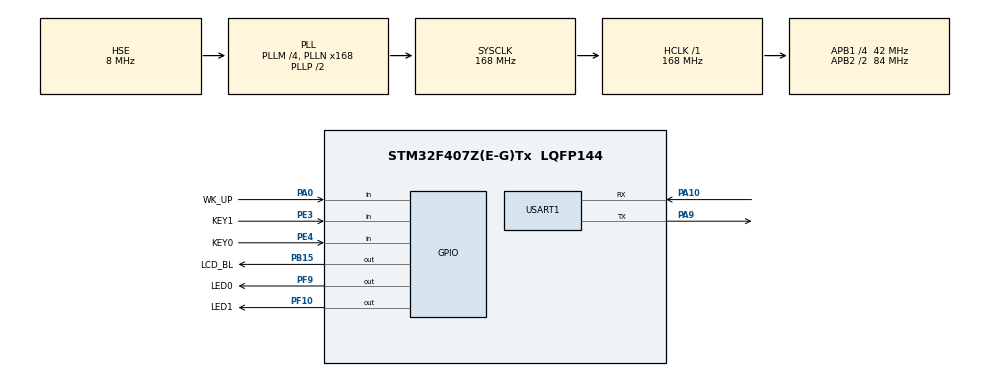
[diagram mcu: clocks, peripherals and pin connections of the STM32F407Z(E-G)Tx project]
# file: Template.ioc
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Mcu.Family=STM32F4
Mcu.Name=STM32F407Z(E-G)Tx
Mcu.Package=LQFP144
NVIC.PriorityGroup=NVIC_PRIORITYGROUP_4
NVIC.USART1_IRQn=true\:1\:0\:true\:false\:true\:true\:false\:true
PA0-WKUP.GPIO_Label=WK_UP
PA0-WKUP.GPIO_PuPd=GPIO_PULLDOWN
PA0-WKUP.Signal=GPIO_Input
PA10.Mode=Asynchronous
PA10.Signal=USART1_RX
PA13.Mode=Serial_Wire
PA13.Signal=SYS_JTMS-SWDIO
PA14.Mode=Serial_Wire
PA14.Signal=SYS_JTCK-SWCLK
PA9.Mode=Asynchronous
PA9.Signal=USART1_TX
PB15.GPIO_Label=LCD_BL
PB15.Signal=GPIO_Output
PE3.GPIO_Label=KEY1
PE3.GPIO_PuPd=GPIO_PULLUP
PE3.Signal=GPIO_Input
PE4.GPIO_Label=KEY0
PE4.GPIO_PuPd=GPIO_PULLUP
PE4.Signal=GPIO_Input
PF10.GPIO_Label=LED1
PF10.GPIO_PuPd=GPIO_NOPULL
PF10.PinState=GPIO_PIN_SET
PF10.Signal=GPIO_Output
PF9.GPIO_Label=LED0
PF9.GPIO_PuPd=GPIO_NOPULL
PF9.PinState=GPIO_PIN_SET
PF9.Signal=GPIO_Output
PH0-OSC_IN.Mode=HSE-External-Oscillator
PH0-OSC_IN.Signal=RCC_OSC_IN
PH1-OSC_OUT.Mode=HSE-External-Oscillator
PH1-OSC_OUT.Signal=RCC_OSC_OUT
ProjectManager.HeapSize=0x200
ProjectManager.StackSize=0x400
ProjectManager.TargetToolchain=MDK-ARM V5.32
RCC.48MHZClocksFreq_Value=84000000
RCC.AHBFreq_Value=168000000
RCC.APB1CLKDivider=RCC_HCLK_DIV4
RCC.APB1Freq_Value=42000000
RCC.APB1TimFreq_Value=84000000
RCC.APB2CLKDivider=RCC_HCLK_DIV2
RCC.APB2Freq_Value=84000000
RCC.APB2TimFreq_Value=168000000
RCC.CortexFreq_Value=168000000
RCC.HCLKFreq_Value=168000000
RCC.HSE_VALUE=8000000
RCC.HSI_VALUE=16000000
RCC.LSE_VALUE=32768
RCC.PLLM=4
RCC.PLLN=168
RCC.PLLSourceVirtual=RCC_PLLSOURCE_HSE
RCC.SYSCLKFreq_VALUE=168000000
RCC.SYSCLKSource=RCC_SYSCLKSOURCE_PLLCLK
RCC.VCOOutputFreq_Value=336000000
USART1.VirtualMode=VM_ASYNC
board=custom

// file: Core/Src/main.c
/* USER CODE BEGIN Header */
/**
  ******************************************************************************
  * @file           : main.c
  * @brief          : Main program body
  ******************************************************************************
  * @attention
  *
  * Copyright (c) 2025 STMicroelectronics.
  * All rights reserved.
  *
  * This software is licensed under terms that can be found in the LICENSE file
  * in the root directory of this software component.
  * If no LICENSE file comes with this software, it is provided AS-IS.
  *
  ******************************************************************************
  */
/* USER CODE END Header */
#include "main.h"

/* USER CODE BEGIN Includes */
#include "bsp_key.h"
#include "bsp_uart.h"
#include "iap.h"
/* USER CODE END Includes */

UART_HandleTypeDef huart1;

void SystemClock_Config(void);
static void MX_GPIO_Init(void);
static void MX_USART1_UART_Init(void);

int main(void)
{

  /* USER CODE BEGIN 1 */
	u8 t=5;
	uint8_t key=0;
	uint16_t oldcount=0;				    //老的串口接收数据值
	uint32_t applenth=0;				    //接收到的app代码长度
  /* USER CODE END 1 */

  /* MCU Configuration--------------------------------------------------------*/

  /* Reset of all peripherals, Initializes the Flash interface and the Systick. */
  HAL_Init();

  /* Configure the system clock */
  SystemClock_Config();

  /* Initialize all configured peripherals */
  MX_GPIO_Init();
  MX_USART1_UART_Init();
  /* USER CODE BEGIN 2 */
	bsp_systick_init(168);
	bsp_uart1_init();

	printf("Explorer STM32F4          \r\n");
	printf("BOOT MODE                 \r\n");
	printf("长按KEY_UP:更新固件       \r\n");
	printf("若无操作五秒后进入默认固件\r\n");
	while(1)
	{
		key=Key_Scan(0);
		if(key == WKUP_PRES)
		{
			key=0;t=0;LED0(1);
			printf("\r\n==========================\r\n");
			printf("      进入固件更新模式          ");
			printf("\r\n==========================\r\n");
			printf("\r\n");
			printf("Explorer STM32F4     \r\n");
		  printf("BOOT MODE            \r\n");
			printf("KEY_UP:Copy APP2FLASH\r\n");
			printf("KEY0:Run FLASH APP   \r\n");
			printf("KEY1:Erase SRAM APP  \r\n");
			printf("1.上位机发送固件.bin文件\r\n");
			printf("2.按下KEY_UP将sram内的固件加载至flash中\r\n");
			printf("3.按下KEY_0运行flash内更新后的固件\r\n");
			printf("正在等待用户程序\r\n");
			break;
		}
		printf("%d\r\n",t);
		t--;
		LED0(2);
		delay_ms(1000);
		if(t==0)
		{
			printf("开始执行FLASH用户代码!!\r\n");
			if(((*(vu32*)(FLASH_APP1_ADDR+4))&0xFF000000)==0x08000000)//判断是否为0X08XXXXXX.
			{
				iap_load_app(FLASH_APP1_ADDR);//执行FLASH APP代码
			}else
			{
				printf("非FLASH应用程序,无法执行!\r\n");
			}
		}
	}
  /* USER CODE END 2 */

  /* Infinite loop */
  /* USER CODE BEGIN WHILE */
  while (1)
  {
		if(USART_RX_CNT){
			if(oldcount==USART_RX_CNT)//新周期内,没有收到任何数据,认为本次数据接收完成.
			{
				applenth=USART_RX_CNT;
				oldcount=0;
				USART_RX_CNT=0;
				printf("用户程序接收完成!\r\n");
				printf("代码长度:%dBytes\r\n",applenth);
			}else oldcount=USART_RX_CNT;
		}
		delay_ms(10);
		key=Key_Scan(0);
		if(key==WKUP_PRES)	//WK_UP按键按下
		{
			if(applenth)
			{
				printf("开始更新固件...\r\n");
				if(((*(vu32*)(0X20001000+4))&0xFF000000)==0x08000000)//判断串口接受缓存区是否为0X08XXXXXX.
				{
					iap_write_appbin(FLASH_APP1_ADDR,USART_RX_BUF,applenth);//更新FLASH代码，将串口缓存处的代码复制到FLASH处
					printf("固件更新完成!\r\n");
				}else
				{

					printf("非FLASH应用程序!\r\n");
				}
			}else
			{
				printf("没有可以更新的固件!\r\n");
			}
		}
		if(key==KEY0_PRES)	//KEY1按下
		{
			if(applenth)
			{
				printf("固件清除完成!\r\n");
				applenth=0;
			}else
			{
				printf("没有可以清除的固件!\r\n");
			}
		}
		if(key==KEY1_PRES)	//KEY2按下
		{
			printf("开始执行FLASH用户代码!!\r\n");
			if(((*(vu32*)(FLASH_APP1_ADDR+4))&0xFF000000)==0x08000000)//判断是否为0X08XXXXXX.
			{
				iap_load_app(FLASH_APP1_ADDR);//执行FLASH APP代码
			}else
			{
				printf("非FLASH应用程序,无法执行!\r\n");

			}
		}
    /* USER CODE END WHILE */

  }
}

void SystemClock_Config(void)
{
  RCC_OscInitTypeDef RCC_OscInitStruct = {0};
  RCC_ClkInitTypeDef RCC_ClkInitStruct = {0};

  /** Configure the main internal regulator output voltage
  */
  __HAL_RCC_PWR_CLK_ENABLE();
  __HAL_PWR_VOLTAGESCALING_CONFIG(PWR_REGULATOR_VOLTAGE_SCALE1);

  /** Initializes the RCC Oscillators according to the specified parameters
  * in the RCC_OscInitTypeDef structure.
  */
  RCC_OscInitStruct.OscillatorType = RCC_OSCILLATORTYPE_HSE;
  RCC_OscInitStruct.HSEState = RCC_HSE_ON;
  RCC_OscInitStruct.PLL.PLLState = RCC_PLL_ON;
  RCC_OscInitStruct.PLL.PLLSource = RCC_PLLSOURCE_HSE;
  RCC_OscInitStruct.PLL.PLLM = 4;
  RCC_OscInitStruct.PLL.PLLN = 168;
  RCC_OscInitStruct.PLL.PLLP = RCC_PLLP_DIV2;
  RCC_OscInitStruct.PLL.PLLQ = 4;
  if (HAL_RCC_OscConfig(&RCC_OscInitStruct) != HAL_OK)
  {
    Error_Handler();
  }

  /** Initializes the CPU, AHB and APB buses clocks
  */
  RCC_ClkInitStruct.ClockType = RCC_CLOCKTYPE_HCLK|RCC_CLOCKTYPE_SYSCLK
                              |RCC_CLOCKTYPE_PCLK1|RCC_CLOCKTYPE_PCLK2;
  RCC_ClkInitStruct.SYSCLKSource = RCC_SYSCLKSOURCE_PLLCLK;
  RCC_ClkInitStruct.AHBCLKDivider = RCC_SYSCLK_DIV1;
  RCC_ClkInitStruct.APB1CLKDivider = RCC_HCLK_DIV4;
  RCC_ClkInitStruct.APB2CLKDivider = RCC_HCLK_DIV2;

  if (HAL_RCC_ClockConfig(&RCC_ClkInitStruct, FLASH_LATENCY_5) != HAL_OK)
  {
    Error_Handler();
  }
}

static void MX_USART1_UART_Init(void)
{

  huart1.Instance = USART1;
  huart1.Init.BaudRate = 115200;
  huart1.Init.WordLength = UART_WORDLENGTH_8B;
  huart1.Init.StopBits = UART_STOPBITS_1;
  huart1.Init.Parity = UART_PARITY_NONE;
  huart1.Init.Mode = UART_MODE_TX_RX;
  huart1.Init.HwFlowCtl = UART_HWCONTROL_NONE;
  huart1.Init.OverSampling = UART_OVERSAMPLING_16;
  if (HAL_UART_Init(&huart1) != HAL_OK)
  {
    Error_Handler();
  }

}

static void MX_GPIO_Init(void)
{
  GPIO_InitTypeDef GPIO_InitStruct = {0};

  /* GPIO Ports Clock Enable */
  __HAL_RCC_GPIOE_CLK_ENABLE();
  __HAL_RCC_GPIOF_CLK_ENABLE();
  __HAL_RCC_GPIOH_CLK_ENABLE();
  __HAL_RCC_GPIOA_CLK_ENABLE();
  __HAL_RCC_GPIOB_CLK_ENABLE();

  /*Configure GPIO pin Output Level */
  HAL_GPIO_WritePin(GPIOF, LED0_Pin|LED1_Pin, GPIO_PIN_SET);

  /*Configure GPIO pin Output Level */
  HAL_GPIO_WritePin(LCD_BL_GPIO_Port, LCD_BL_Pin, GPIO_PIN_RESET);

  /*Configure GPIO pins : KEY1_Pin KEY0_Pin */
  GPIO_InitStruct.Pin = KEY1_Pin|KEY0_Pin;
  GPIO_InitStruct.Mode = GPIO_MODE_INPUT;
  GPIO_InitStruct.Pull = GPIO_PULLUP;
  HAL_GPIO_Init(GPIOE, &GPIO_InitStruct);

  /*Configure GPIO pins : LED0_Pin LED1_Pin */
  GPIO_InitStruct.Pin = LED0_Pin|LED1_Pin;
  GPIO_InitStruct.Mode = GPIO_MODE_OUTPUT_PP;
  GPIO_InitStruct.Pull = GPIO_NOPULL;
  GPIO_InitStruct.Speed = GPIO_SPEED_FREQ_LOW;
  HAL_GPIO_Init(GPIOF, &GPIO_InitStruct);

  /*Configure GPIO pin : WK_UP_Pin */
  GPIO_InitStruct.Pin = WK_UP_Pin;
  GPIO_InitStruct.Mode = GPIO_MODE_INPUT;
  GPIO_InitStruct.Pull = GPIO_PULLDOWN;
  HAL_GPIO_Init(WK_UP_GPIO_Port, &GPIO_InitStruct);

  /*Configure GPIO pin : LCD_BL_Pin */
  GPIO_InitStruct.Pin = LCD_BL_Pin;
  GPIO_InitStruct.Mode = GPIO_MODE_OUTPUT_PP;
  GPIO_InitStruct.Pull = GPIO_NOPULL;
  GPIO_InitStruct.Speed = GPIO_SPEED_FREQ_LOW;
  HAL_GPIO_Init(LCD_BL_GPIO_Port, &GPIO_InitStruct);

}

void Error_Handler(void)
{
  __disable_irq();
  while (1)
  {
  }
}
